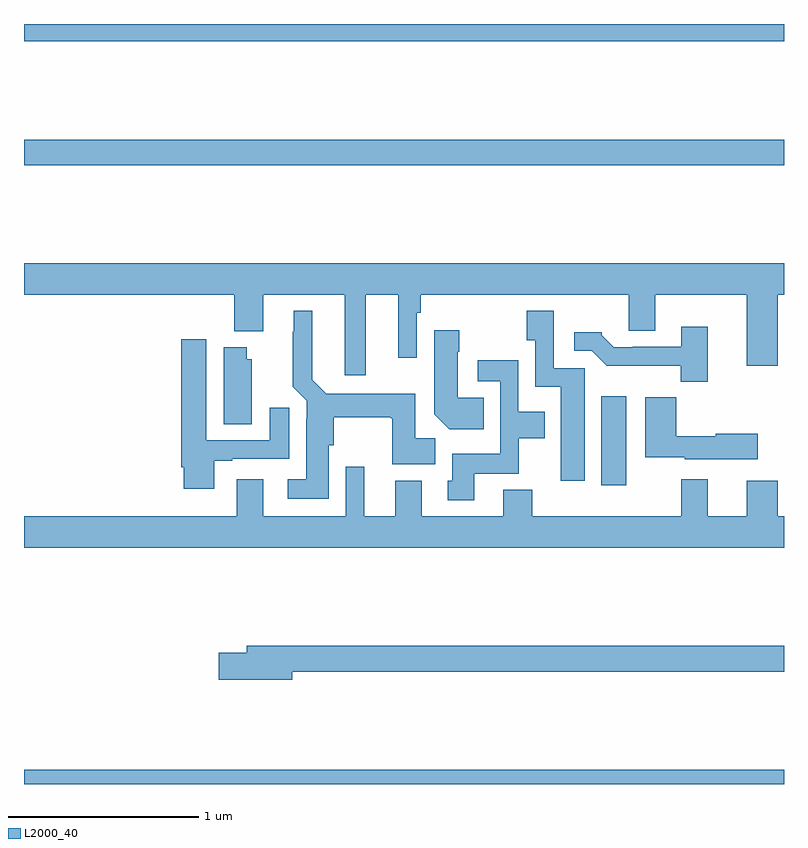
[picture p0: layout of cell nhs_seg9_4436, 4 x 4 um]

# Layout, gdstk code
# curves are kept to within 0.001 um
import gdstk
lib = gdstk.Library(unit=1e-6, precision=1e-09)
def R(c, l, rs):  # rectangles x0, y0, x1, y1
    for r in rs: c.add(gdstk.rectangle(r[:2], r[2:], *l))
def P(c, l, *ps):  # polygons
    for p in ps: c.add(gdstk.Polygon(p, *l))
L2000_40 = (2000, 40)

nhs_seg9_4436 = lib.new_cell('nhs_seg9_4436')
R(nhs_seg9_4436, L2000_40, [(365,1204.5,369,1204.576), (368.039,1206.072,368.17,1206.541), (365,1207.756,369,1207.892), (365,1208.408,369,1208.5)])
P(nhs_seg9_4436, L2000_40, [(366.799,1207.076),(366.971,1207.076),(366.971,1206.744),(367.068,1206.744),(367.068,1206.98),(367.088,1206.98),(367.088,1207.076),(368.183,1207.076),(368.183,1206.886),(368.323,1206.886),(368.323,1207.076),(368.804,1207.076),(368.804,1206.702),(368.968,1206.702),(368.968,1207.076),(369,1207.076),(369,1207.24),(365,1207.24),(365,1207.076),(366.107,1207.076),(366.107,1206.884),(366.259,1206.884),(366.259,1207.076),(366.689,1207.076),(366.689,1206.651),(366.799,1206.651)],
  [(367.951,1206.687),(367.788,1206.687),(367.788,1206.991),(367.645,1206.991),(367.645,1206.835),(367.692,1206.835),(367.692,1206.59),(367.826,1206.59),(367.826,1206.096),(367.951,1206.096)],
  [(366.604,1206.282),(366.63,1206.282),(366.63,1206.431),(366.931,1206.431),(366.931,1206.424),(366.938,1206.424),(366.938,1206.182),(367.165,1206.182),(367.165,1206.32),(367.06,1206.32),(367.06,1206.553),(366.591,1206.553),(366.517,1206.628),(366.517,1206.991),(366.419,1206.991),(366.419,1206.881),(366.415,1206.881),(366.415,1206.59),(366.489,1206.516),(366.489,1206.422),(366.485,1206.422),(366.485,1206.103),(366.387,1206.103),(366.387,1206.002),(366.604,1206.002)],
  [(368.599,1206.907),(368.459,1206.907),(368.459,1206.801),(368.203,1206.801),(368.203,1206.798),(368.104,1206.798),(368.04,1206.862),(368.04,1206.877),(367.896,1206.877),(367.896,1206.78),(367.989,1206.78),(368.068,1206.702),(368.457,1206.702),(368.457,1206.617),(368.599,1206.617)],
  [(367.421,1206.532),(367.282,1206.532),(367.282,1206.776),(367.29,1206.776),(367.29,1206.889),(367.16,1206.889),(367.16,1206.446),(367.238,1206.368),(367.421,1206.368)],
  [(366.001,1206.201),(366.097,1206.201),(366.097,1206.213),(366.397,1206.213),(366.397,1206.481),(366.293,1206.481),(366.293,1206.309),(365.959,1206.309),(365.959,1206.841),(365.828,1206.841),(365.828,1206.166),(365.84,1206.166),(365.84,1206.054),(366.001,1206.054)],
  [(366.199,1206.735),(366.172,1206.735),(366.172,1206.799),(366.05,1206.799),(366.05,1206.394),(366.199,1206.394)],
  [(367.369,1206.134),(367.605,1206.134),(367.605,1206.32),(367.741,1206.32),(367.741,1206.46),(367.602,1206.46),(367.602,1206.73),(367.389,1206.73),(367.389,1206.621),(367.506,1206.621),(367.506,1206.238),(367.253,1206.238),(367.253,1206.096),(367.229,1206.096),(367.229,1205.994),(367.369,1205.994)],
  [(368.863,1206.344),(368.64,1206.344),(368.64,1206.331),(368.432,1206.331),(368.432,1206.535),(368.27,1206.535),(368.27,1206.221),(368.478,1206.221),(368.478,1206.209),(368.863,1206.209)],
  [(369,1205.908),(368.968,1205.908),(368.968,1206.097),(368.804,1206.097),(368.804,1205.908),(368.599,1205.908),(368.599,1206.103),(368.459,1206.103),(368.459,1205.908),(367.676,1205.908),(367.676,1206.049),(367.523,1206.049),(367.523,1205.908),(367.093,1205.908),(367.093,1206.097),(366.953,1206.097),(366.953,1205.908),(366.79,1205.908),(366.79,1206.169),(366.693,1206.169),(366.693,1205.908),(366.259,1205.908),(366.259,1206.103),(366.119,1206.103),(366.119,1205.908),(365,1205.908),(365,1205.744),(369,1205.744)],
  [(366.412,1205.092),(369,1205.092),(369,1205.228),(366.173,1205.228),(366.173,1205.192),(366.024,1205.192),(366.024,1205.05),(366.412,1205.05)])

lib.write_gds('nhs_seg9_4436.gds')
